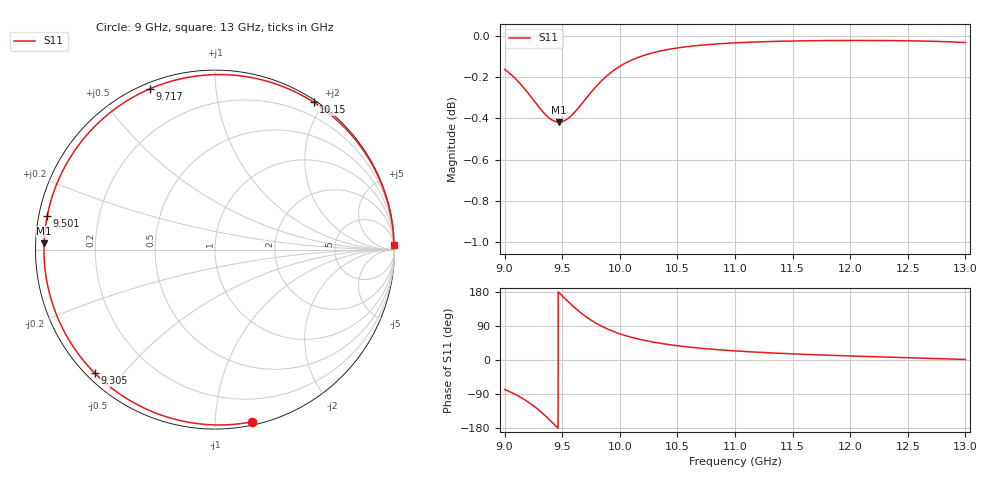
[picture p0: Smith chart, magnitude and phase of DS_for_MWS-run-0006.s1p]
! TOUCHSTONE file generated by CST DESIGN STUDIO
! Date and time: Tue Feb  4 17:03:19 2025
! Project name: C:\Work\MatlabApps\UnitCellOptimizationMatlab\CST\unitcell.cst
! Tree item: Tasks\Sweep1\SPara1\S-Parameters
! Header version: 2024
! Port assignment regex: !\s*Touchstone port\s*([0-9]+)\s*=\s*(CST MWS port|CST DES external port|CST DES block port)\s*(.+)\s* \(\"(.*)\"\)(\s*mode\s*([0-9]+))?.*
! Touchstone port assignment:
! Touchstone port 1 = CST DES external port 1 ("")
# GHz S MA R 50
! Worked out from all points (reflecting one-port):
!   4001 points, 9 GHz to 13 GHz, reference 50 ohm
!   lowest |S11| = -0.4 dB at 9.471 GHz (marker M1), VSWR 41.57, Z = 1.2 + j0.928 ohm
!   phase of S11 starts at -78 deg and turns -281 deg over the sweep
!   S11 on the Smith chart (normalised r, x): 9 GHz: 0.02, -1.24; 9.305 GHz: 0.02, -0.42; 9.501 GHz: 0.02, +0.10; 9.717 GHz: 0.02, +0.68; 10.15 GHz: 0.03, +1.87; 13 GHz: 11, +78
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9  0.9816 -77.9
9.077  0.9775 -88.4
9.174  0.9709 -104.8
9.242  0.9655 -119.0
9.305  0.9605 -134.3
9.349  0.9574 -146.1
9.395  0.9548 -159.3
9.434  0.9534 -170.9
9.471  0.953 177.9
9.5  0.9533 169.1
9.501  0.9533 168.8
9.553  0.9551 153.4
9.612  0.9586 137.0
9.664  0.9624 123.9
9.717  0.9665 111.9
9.773  0.9707 100.8
9.835  0.9749 90.3
9.916  0.9795 78.8
10  0.9832 69.1
10.148  0.9879 56.2
10.307  0.991 46.3
10.5  0.9934 37.6
10.722  0.995 30.5
11  0.9962 24.0
11.5  0.9973 16.2
12  0.9976 10.6
12.5  0.9974 6.1
13  0.9964 1.4
